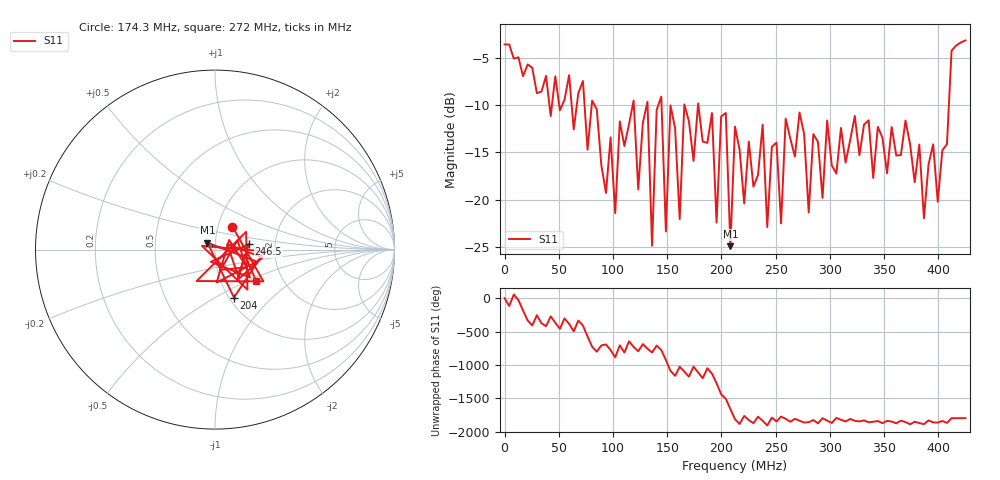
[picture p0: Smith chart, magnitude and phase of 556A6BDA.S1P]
!File created by NanoVNA
# Hz S RI R 50
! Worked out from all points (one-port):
!   101 points, 50 kHz to 425 MHz, reference 50 ohm
!   lowest |S11| = -24.9 dB at 208.3 MHz (marker M1), VSWR 1.12, Z = 45.9 + j3.53 ohm
!   |S11| at or under -10 dB: 82.97 MHz to 118.2 MHz (35.25 MHz wide, 35 % of centre); 144.8 MHz to 165.8 MHz (20.95 MHz wide, 13.5 % of centre); 178.7 MHz to 409.8 MHz (231.1 MHz wide, 78.5 % of centre) (the widest 3 of 10)
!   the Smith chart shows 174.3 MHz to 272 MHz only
!   S11 on the Smith chart (normalised r, x): 174.3 MHz: 1.17, +0.31; 204 MHz: 1.05, -0.61; 246.5 MHz: 1.46, +0.09; 272 MHz: 1.47, -0.56
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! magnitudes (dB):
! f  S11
! 50 kHz  -3.6
! 55.29 MHz  -9.4
! 102 MHz  -21.4
! 106.3 MHz  -11.7
! 123.3 MHz  -18.9
! 131.8 MHz  -9.6
! 136 MHz  -24.9
! 140.3 MHz  -10.5
! 148.8 MHz  -23.4
! 153 MHz  -10.0
! 161.5 MHz  -22.1
! 165.8 MHz  -9.9
! 174.3 MHz  -15.9
! 191.3 MHz  -10.8
! 195.5 MHz  -22.4
! 204 MHz  -10.8
! 208.3 MHz  -24.9
! 212.5 MHz  -12.3
! 238 MHz  -12.1
! 242.3 MHz  -22.9
! 246.5 MHz  -14.4
! 267.8 MHz  -15.4
! 272 MHz  -10.8
! 280.5 MHz  -21.4
! 318.8 MHz  -13.7
! 374 MHz  -14.2
! 399.5 MHz  -20.2
! 425 MHz  -3.2
